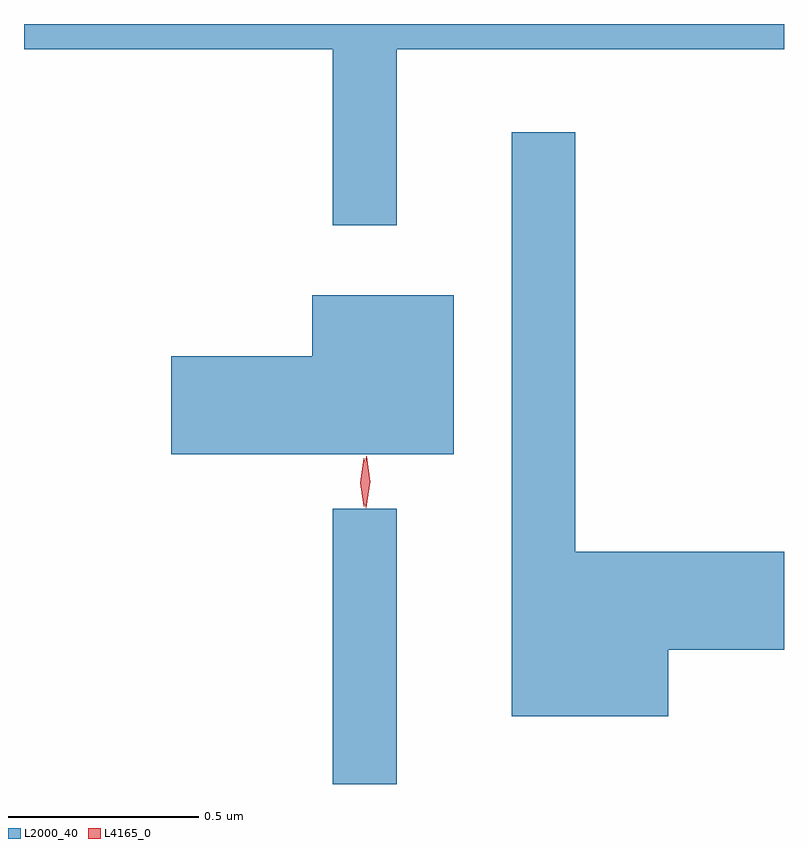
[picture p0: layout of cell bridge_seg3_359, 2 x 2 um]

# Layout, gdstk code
import gdstk
lib = gdstk.Library(unit=1e-6, precision=1e-09)
def R(c, l, rs):  # rectangles x0, y0, x1, y1
    for r in rs: c.add(gdstk.rectangle(r[:2], r[2:], *l))
def P(c, l, *ps):  # polygons
    for p in ps: c.add(gdstk.Polygon(p, *l))
L2000_40 = (2000, 40)
L4165_0 = (4165, 0)

bridge_seg3_359 = lib.new_cell('bridge_seg3_359')
R(bridge_seg3_359, L2000_40, [(329.311,1204.003,329.479,1204.728)])
P(bridge_seg3_359, L2000_40, [(329.479,1205.936),(330.498,1205.936),(330.498,1206.003),(328.498,1206.003),(328.498,1205.936),(329.311,1205.936),(329.311,1205.473),(329.479,1205.473)],
  [(330.194,1204.356),(330.498,1204.356),(330.498,1204.614),(329.949,1204.614),(329.949,1205.718),(329.781,1205.718),(329.781,1204.181),(330.194,1204.181)],
  [(329.629,1205.289),(329.256,1205.289),(329.256,1205.129),(328.886,1205.129),(328.886,1204.871),(329.629,1204.871)])
P(bridge_seg3_359, L4165_0, [(329.397,1204.73),(329.389,1204.798),(329.399,1204.866),(329.399,1204.866),(329.4,1204.866),(329.409,1204.798),(329.398,1204.73),(329.398,1204.73)],
  [(329.393,1204.733),(329.392,1204.734),(329.383,1204.796),(329.392,1204.86),(329.393,1204.86),(329.393,1204.86),(329.403,1204.796),(329.393,1204.734)])

lib.write_gds('bridge_seg3_359.gds')
